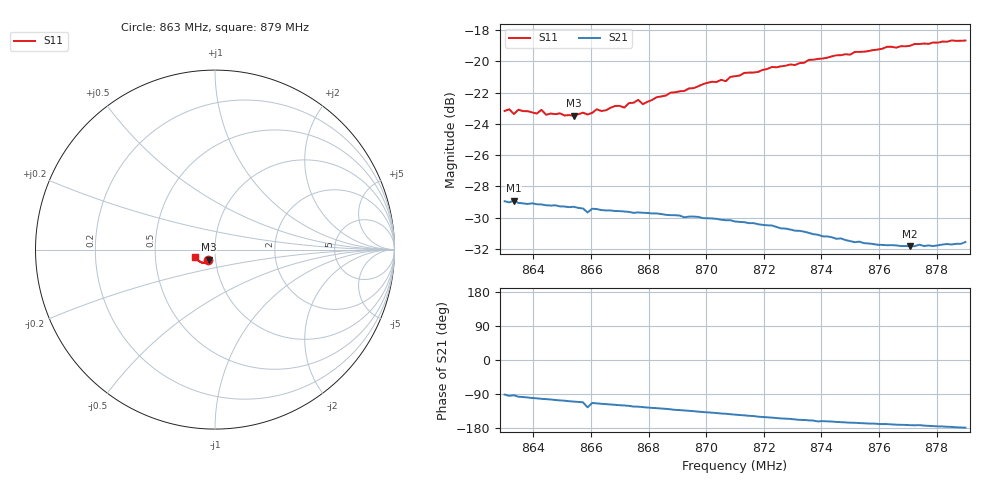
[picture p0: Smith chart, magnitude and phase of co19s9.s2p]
# HZ S RI R 50
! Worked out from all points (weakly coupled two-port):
!   101 points, 863 MHz to 879 MHz, reference 50 ohm
!   highest |S21| = -28.91 dB at 863.32 MHz (marker M1); lowest = -31.8 dB at 877.08 MHz (marker M2)
!   lowest |S11| = -23.5 dB at 865.4 MHz (marker M3), VSWR 1.14, Z = 46.3 - j5.27 ohm
!   |S11| at or under -10 dB: start of sweep to end of sweep
!   S12 and S22 are empty: the file has one direction only
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8.63e8  -0.0403 -0.0564  -0.000797 -0.0357  0 0  0 0
8.6316e8  -0.0436 -0.0551  -0.00289 -0.0353  0 0  0 0
8.6332e8  -0.0371 -0.0568  -0.00187 -0.0358  0 0  0 0
8.6348e8  -0.0423 -0.0558  -0.00426 -0.035  0 0  0 0
8.6412e8  -0.0393 -0.0556  -0.00674 -0.0342  0 0  0 0
8.6428e8  -0.0393 -0.0579  -0.00753 -0.034  0 0  0 0
8.6444e8  -0.039 -0.0551  -0.00797 -0.0337  0 0  0 0
8.654e8  -0.0356 -0.0567  -0.0116 -0.0322  0 0  0 0
8.6572e8  -0.0358 -0.0584  -0.0124 -0.0315  0 0  0 0
8.6588e8  -0.0354 -0.0576  -0.0188 -0.0269  0 0  0 0
8.6604e8  -0.0343 -0.0592  -0.0134 -0.031  0 0  0 0
8.6684e8  -0.0361 -0.0623  -0.0158 -0.0292  0 0  0 0
8.6716e8  -0.0349 -0.0619  -0.0166 -0.0286  0 0  0 0
8.6764e8  -0.0363 -0.0659  -0.018 -0.0275  0 0  0 0
8.678e8  -0.0359 -0.0635  -0.0185 -0.0271  0 0  0 0
8.6844e8  -0.0383 -0.067  -0.02 -0.0256  0 0  0 0
8.7068e8  -0.0475 -0.0722  -0.0244 -0.0192  0 0  0 0
8.71e8  -0.0506 -0.074  -0.0249 -0.018  0 0  0 0
8.7372e8  -0.0694 -0.0737  -0.0263 -0.00964  0 0  0 0
8.7644e8  -0.093 -0.0611  -0.0254 -0.00449  0 0  0 0
8.7708e8  -0.0974 -0.0555  -0.0254 -0.0036  0 0  0 0
8.79e8  -0.11 -0.0385  -0.0264 -0.000654  0 0  0 0
